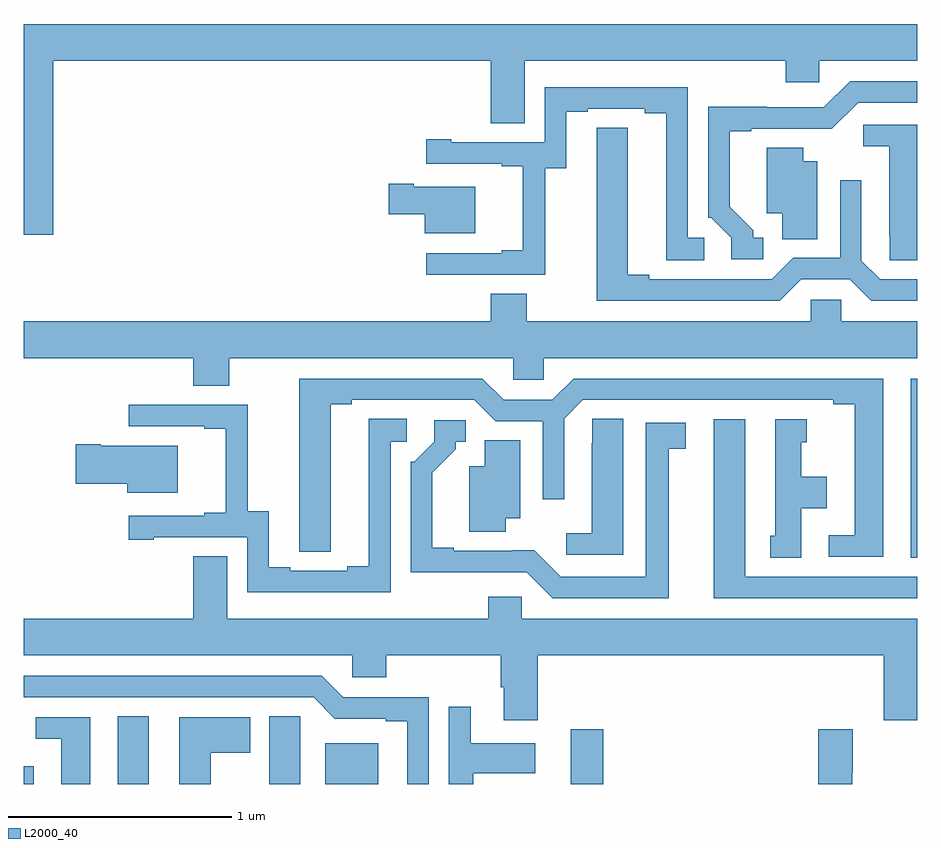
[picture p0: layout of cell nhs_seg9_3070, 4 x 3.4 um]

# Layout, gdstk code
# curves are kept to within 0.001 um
import gdstk
lib = gdstk.Library(unit=1e-6, precision=1e-09)
def R(c, l, rs):  # rectangles x0, y0, x1, y1
    for r in rs: c.add(gdstk.rectangle(r[:2], r[2:], *l))
def P(c, l, *ps):  # polygons
    for p in ps: c.add(gdstk.Polygon(p, *l))
L2000_40 = (2000, 40)

nhs_seg9_3070 = lib.new_cell('nhs_seg9_3070')
R(nhs_seg9_3070, L2000_40, [(287,1206.5,287.044,1206.58), (287.42,1206.5,287.56,1206.803), (288.35,1206.5,288.586,1206.682), (289.448,1206.5,289.595,1206.745), (290.972,1207.513,291,1208.316)])
P(nhs_seg9_3070, L2000_40, [(287.132,1209.74),(289.091,1209.74),(289.091,1209.46),(289.243,1209.46),(289.243,1209.74),(290.411,1209.74),(290.411,1209.642),(290.562,1209.642),(290.562,1209.74),(291,1209.74),(291,1209.904),(287,1209.904),(287,1208.961),(287.132,1208.961)],
  [(290.311,1208.946),(290.266,1208.946),(290.266,1208.981),(290.161,1209.086),(290.161,1209.423),(290.257,1209.423),(290.257,1209.435),(290.618,1209.434),(290.736,1209.552),(291,1209.552),(291,1209.648),(290.7,1209.648),(290.583,1209.531),(290.327,1209.531),(290.327,1209.533),(290.064,1209.533),(290.064,1209.036),(290.079,1209.036),(290.169,1208.946),(290.169,1208.85),(290.311,1208.85)],
  [(289.335,1209.259),(289.429,1209.259),(289.429,1209.51),(289.525,1209.51),(289.525,1209.525),(289.781,1209.525),(289.781,1209.505),(289.877,1209.505),(289.877,1208.845),(290.047,1208.845),(290.047,1208.946),(289.974,1208.946),(289.974,1209.621),(289.332,1209.621),(289.332,1209.375),(288.913,1209.375),(288.913,1209.388),(288.801,1209.388),(288.801,1209.279),(289.139,1209.279),(289.139,1209.267),(289.235,1209.267),(289.235,1208.89),(289.139,1208.89),(289.139,1208.877),(288.801,1208.877),(288.801,1208.781),(289.335,1208.781)],
  [(291,1209.453),(290.76,1209.453),(290.76,1209.356),(290.876,1209.356),(290.876,1208.953),(290.877,1208.953),(290.877,1208.845),(291,1208.845)],
  [(290.481,1208.76),(290.699,1208.76),(290.795,1208.664),(291,1208.664),(291,1208.76),(290.835,1208.76),(290.751,1208.844),(290.751,1209.205),(290.655,1209.205),(290.655,1208.856),(290.445,1208.856),(290.349,1208.76),(289.801,1208.76),(289.801,1208.78),(289.705,1208.78),(289.705,1209.44),(289.566,1209.44),(289.565,1208.664),(290.385,1208.664)],
  [(290.554,1209.289),(290.491,1209.289),(290.491,1209.35),(290.327,1209.35),(290.327,1209.056),(290.396,1209.056),(290.396,1208.941),(290.554,1208.941)],
  [(289.021,1209.175),(288.745,1209.175),(288.745,1209.188),(288.633,1209.188),(288.633,1209.053),(288.794,1209.053),(288.794,1208.966),(289.021,1208.966)],
  [(287.919,1208.408),(289.191,1208.408),(289.191,1208.31),(289.329,1208.31),(289.329,1208.408),(291,1208.408),(291,1208.572),(290.661,1208.572),(290.661,1208.67),(290.523,1208.67),(290.523,1208.572),(289.251,1208.572),(289.251,1208.696),(289.091,1208.696),(289.091,1208.572),(287,1208.572),(287,1208.408),(287.759,1208.408),(287.759,1208.284),(287.919,1208.284)],
  [(290.848,1208.316),(289.463,1208.316),(289.367,1208.22),(289.149,1208.22),(289.053,1208.316),(288.233,1208.316),(288.234,1207.54),(288.373,1207.54),(288.373,1208.2),(288.469,1208.2),(288.469,1208.22),(289.017,1208.22),(289.113,1208.124),(289.323,1208.124),(289.323,1207.776),(289.419,1207.776),(289.419,1208.136),(289.503,1208.22),(290.624,1208.22),(290.624,1208.2),(290.72,1208.2),(290.72,1207.614),(290.604,1207.614),(290.604,1207.518),(290.848,1207.518)],
  [(288.642,1208.034),(288.715,1208.034),(288.715,1208.135),(288.545,1208.135),(288.545,1207.475),(288.449,1207.475),(288.449,1207.455),(288.193,1207.455),(288.193,1207.47),(288.097,1207.47),(288.097,1207.721),(288.003,1207.721),(288.003,1208.199),(287.469,1208.199),(287.469,1208.103),(287.807,1208.103),(287.807,1208.091),(287.903,1208.091),(287.903,1207.714),(287.807,1207.714),(287.807,1207.701),(287.469,1207.701),(287.469,1207.593),(287.581,1207.593),(287.581,1207.605),(288,1207.605),(288,1207.359),(288.642,1207.359)],
  [(289.684,1208.135),(289.545,1208.135),(289.545,1208.027),(289.544,1208.027),(289.544,1207.624),(289.428,1207.624),(289.428,1207.527),(289.684,1207.527)],
  [(291,1207.428),(290.23,1207.428),(290.23,1208.134),(290.09,1208.134),(290.09,1207.332),(291,1207.332)],
  [(290.482,1207.736),(290.596,1207.736),(290.596,1207.876),(290.482,1207.876),(290.482,1208.031),(290.506,1208.031),(290.506,1208.134),(290.366,1208.134),(290.366,1207.611),(290.342,1207.611),(290.342,1207.513),(290.482,1207.513)],
  [(289.888,1208.002),(289.963,1208.002),(289.963,1208.118),(289.784,1208.118),(289.784,1207.428),(289.404,1207.428),(289.286,1207.546),(288.925,1207.545),(288.925,1207.558),(288.829,1207.558),(288.829,1207.894),(288.934,1207.999),(288.934,1208.034),(288.979,1208.034),(288.979,1208.13),(288.837,1208.13),(288.837,1208.034),(288.747,1207.944),(288.732,1207.944),(288.732,1207.448),(289.251,1207.449),(289.368,1207.332),(289.888,1207.332)],
  [(289.159,1207.691),(289.222,1207.691),(289.222,1208.039),(289.064,1208.039),(289.064,1207.924),(288.995,1207.924),(288.995,1207.63),(289.159,1207.63)],
  [(287.689,1208.014),(287.344,1208.014),(287.344,1208.022),(287.232,1208.022),(287.232,1207.844),(287.462,1207.844),(287.462,1207.805),(287.689,1207.805)],
  [(289.301,1207.076),(290.852,1207.076),(290.852,1206.786),(291,1206.786),(291,1207.24),(289.23,1207.24),(289.23,1207.338),(289.079,1207.338),(289.079,1207.24),(287.911,1207.24),(287.911,1207.52),(287.759,1207.52),(287.759,1207.24),(287,1207.24),(287,1207.076),(288.471,1207.076),(288.471,1206.978),(288.623,1206.978),(288.623,1207.076),(289.136,1207.076),(289.136,1206.934),(289.148,1206.934),(289.148,1206.786),(289.301,1206.786)],
  [(288.813,1206.888),(288.429,1206.888),(288.333,1206.984),(287,1206.984),(287,1206.888),(288.297,1206.888),(288.393,1206.792),(288.62,1206.792),(288.62,1206.78),(288.716,1206.78),(288.716,1206.5),(288.813,1206.5)],
  [(289.012,1206.548),(289.291,1206.548),(289.291,1206.682),(289,1206.682),(289,1206.847),(288.903,1206.847),(288.903,1206.5),(289.012,1206.5)],
  [(288.238,1206.692),(288.237,1206.692),(288.237,1206.803),(288.098,1206.803),(288.098,1206.5),(288.238,1206.5)],
  [(287.836,1206.64),(288.013,1206.64),(288.013,1206.799),(287.696,1206.799),(287.696,1206.5),(287.836,1206.5)],
  [(287.296,1206.798),(287.052,1206.798),(287.052,1206.702),(287.168,1206.702),(287.168,1206.5),(287.296,1206.5)],
  [(290.71,1206.55),(290.712,1206.55),(290.712,1206.745),(290.558,1206.745),(290.558,1206.5),(290.71,1206.5)])

lib.write_gds('nhs_seg9_3070.gds')
